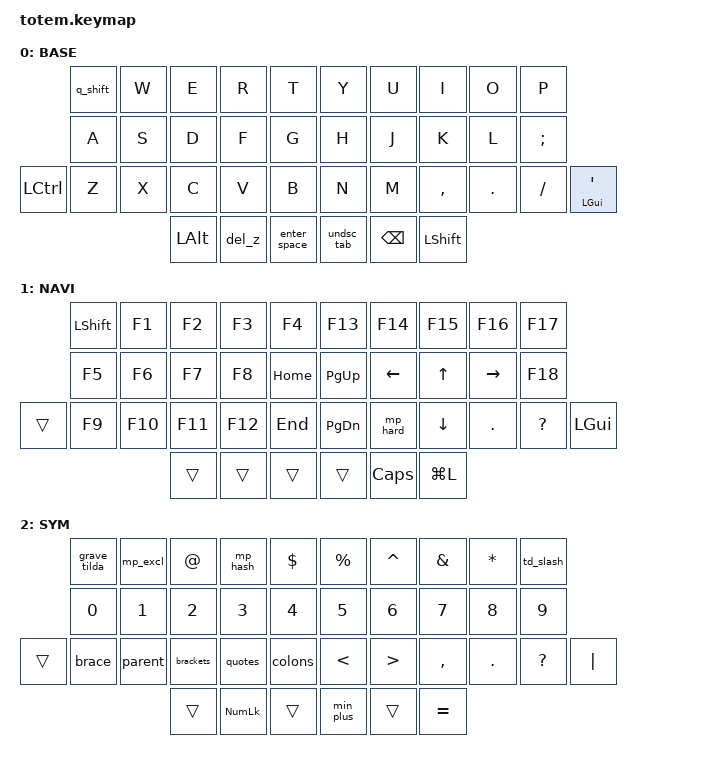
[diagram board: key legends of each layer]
//
//                                                        ▀▀▀▀▀     ▀▀▀▀▀          ▀▀█▀▀
//                                                        ▄▀▀▀▄  ▄  ▄▀▀▀▄  ▄  ▄▀▀▀▄  █  ▄▀▀▀▄
//                                                        █   █  █  █   █  █  █   █  █  █   █
//                                                         ▀▀▀   █   ▀▀▀   █   ▀▀▀   ▀   ▀▀▀
//                                                               █      ▄▄▄█▄▄▄    █   █  
//                                                               ▀      █  █  █     █▄█
//                                                             ▀▀▀▀▀    █  █  █      ▀
//                                                                      ▀  ▀  ▀
//
// ▄▄▄▄▄▄▄▄▄▄▄▄▄▄▄▄▄▄▄▄▄▄▄▄▄▄▄▄▄▄▄▄▄▄▄▄▄▄▄▄▄▄▄▄▄▄▄▄▄▄▄▄▄▄▄▄▄▄▄▄▄▄▄▄▄▄▄▄▄▄▄▄▄▄▄▄▄▄▄▄▄▄▄▄▄▄▄▄▄▄▄▄▄▄▄▄▄▄▄▄▄▄▄▄▄▄▄▄▄▄▄▄▄▄▄▄▄▄▄▄▄▄▄▄▄▄▄▄▄▄▄▄▄▄▄▄▄▄▄▄▄▄▄▄▄▄▄▄▄

#include <behaviors.dtsi>
#include <dt-bindings/zmk/bt.h>
#include <dt-bindings/zmk/keys.h>

#define BASE 0
#define NAV  1
#define SYM  2
#define ADJ  3
#define TVP1 4
#define TVP2 5

&ble {
    hids {
        status = "okay";
    };
};

&mt {
    quick-tap-ms = <100>;
    global-quick-tap;
    flavor = "tap-preferred";
    tapping-term-ms = <170>;
};

/ {
    combos {
        compatible = "zmk,combos";

        combo_esc {
            timeout-ms = <50>;
            key-positions = <0 1>;
            bindings = <&kp ESC>;
        };

        bt_0 {
            bindings = <&bt BT_SEL 0>;
            key-positions = <0 10 21>;
        };

        bt_1 {
            bindings = <&bt BT_SEL 1>;
            key-positions = <1 11 22>;
        };

        bt_2 {
            bindings = <&bt BT_SEL 2>;
            key-positions = <2 12 23>;
        };

        bt_3 {
            bindings = <&bt BT_SEL 3>;
            key-positions = <3 24 13>;
        };

        bt_4 {
            bindings = <&bt BT_SEL 4>;
            key-positions = <4 14 25>;
        };

        print_screen {
            bindings = <&kp LS(LG(S))>;
            key-positions = <32 34 33>;
        };

        processes {
            bindings = <&kp LC(LA(DEL))>;
            key-positions = <36 37 35>;
        };

        bt_clr {
            bindings = <&bt BT_CLR>;
            key-positions = <7 17 28 5 15 26>;
        };

        bt_clr_all {
            bindings = <&bt BT_CLR_ALL>;
            key-positions = <7 17 28 2 12 23>;
        };
    };

    behaviors {
        enter_space: enter_space {
            compatible = "zmk,behavior-mod-morph";
            label = "ENTER_SPACE";
            bindings = <&lt 2 SPACE>, <&kp ENTER>;

            #binding-cells = <0>;
            mods = <(MOD_LCTL|MOD_LSFT|MOD_LALT)>;
            keep-mods = <(MOD_LSFT|MOD_LALT)>;
        };

        undsc_tab: undsc_tab {
            compatible = "zmk,behavior-mod-morph";
            label = "UNDSC_TAB";
            bindings = <&lt 1 UNDERSCORE>, <&kp TAB>;

            #binding-cells = <0>;
            mods = <(MOD_LCTL|MOD_LSFT|MOD_LALT)>;
            keep-mods = <(MOD_LSFT|MOD_LALT)>;
        };

        q_shift: q_shift {
            compatible = "zmk,behavior-mod-morph";
            label = "Q_SHIFT";
            bindings = <&mt LEFT_SHIFT Q>, <&kp LEFT_SHIFT>;

            #binding-cells = <0>;
            mods = <(MOD_LCTL)>;
            keep-mods = <(MOD_LCTL)>;
        };

        del_z: del_z {
            compatible = "zmk,behavior-mod-morph";
            label = "DEL_Z";
            bindings = <&kp DEL>, <&kp Z>;

            #binding-cells = <0>;
            mods = <(MOD_LCTL)>;
            keep-mods = <(MOD_LCTL)>;
        };

        grave_tilda: grave_tilda {
            compatible = "zmk,behavior-tap-dance";
            label = "GRAVE_TILDA";
            #binding-cells = <0>;
            bindings = <&kp GRAVE>, <&kp TILDE>;
        };

        brace: brace {
            compatible = "zmk,behavior-tap-dance";
            label = "BRACE";
            #binding-cells = <0>;
            bindings = <&kp LEFT_BRACE>, <&kp RIGHT_BRACE>;
        };

        parent: parent {
            compatible = "zmk,behavior-tap-dance";
            label = "PARENT";
            #binding-cells = <0>;
            bindings = <&kp LEFT_PARENTHESIS>, <&kp RIGHT_PARENTHESIS>;
        };

        brackets: brackets {
            compatible = "zmk,behavior-tap-dance";
            label = "BRACKETS";
            #binding-cells = <0>;
            bindings = <&kp LEFT_BRACKET>, <&kp RIGHT_BRACKET>;
        };

        quotes: quotes {
            compatible = "zmk,behavior-tap-dance";
            label = "QUOTES";
            #binding-cells = <0>;
            bindings = <&kp SQT>, <&kp DOUBLE_QUOTES>;
        };

        colons: colons {
            compatible = "zmk,behavior-tap-dance";
            label = "COLONS";
            #binding-cells = <0>;
            bindings = <&kp COLON>, <&kp SEMICOLON>;
        };

        min_plus: min_plus {
            compatible = "zmk,behavior-tap-dance";
            label = "MIN_PLUS";
            #binding-cells = <0>;
            bindings = <&kp KP_MINUS>, <&kp KP_PLUS>;
        };

        td_slash: td_slash {
            compatible = "zmk,behavior-tap-dance";
            label = "TD_SLASH";
            #binding-cells = <0>;
            bindings = <&kp SLASH>, <&kp BACKSLASH>;
        };
    };

    macros {
        mp_excl: excl {
            compatible = "zmk,behavior-macro";
            #binding-cells = <0>;
            bindings =
                <&macro_press>,
                <&kp LEFT_ALT>,
                <&macro_tap>,
                <&kp KP_NUMBER_3 &kp KP_NUMBER_3>,
                <&macro_release>,
                <&kp LEFT_ALT>;

            label = "EXCL";
        };

        mp_hash: mp_hash {
            compatible = "zmk,behavior-macro";
            #binding-cells = <0>;
            bindings =
                <&macro_press>,
                <&kp LEFT_ALT>,
                <&macro_tap>,
                <&kp KP_NUMBER_3 &kp KP_NUMBER_5>,
                <&macro_release>,
                <&kp LEFT_ALT>;

            label = "MP_HASH";
        };

        mp_hard: mp_hard {
            compatible = "zmk,behavior-macro";
            #binding-cells = <0>;
            bindings =
                <&macro_press>,
                <&kp LEFT_ALT>,
                <&macro_tap>,
                <&kp KP_N0 &kp KP_NUMBER_2 &kp KP_NUMBER_5 &kp KP_NUMBER_0>,
                <&macro_release>,
                <&kp LEFT_ALT>;

            label = "MP_HARD";
        };
    };

    keymap {
        compatible = "zmk,keymap";

        // ▄▄▄▄▄▄▄▄▄▄▄▄▄▄▄▄▄▄▄▄▄▄▄▄▄▄▄▄▄▄▄▄▄▄▄▄▄▄▄▄▄▄▄▄▄▄▄▄▄▄▄▄▄▄▄▄▄▄▄▄▄▄▄▄▄▄▄▄▄▄▄▄▄▄▄▄▄▄▄▄▄▄▄▄▄▄▄▄▄▄▄▄▄▄▄▄▄▄▄▄▄▄▄▄▄▄▄▄▄▄▄▄▄▄▄▄▄▄▄▄▄▄▄▄▄▄▄▄▄▄▄▄▄▄▄▄▄▄▄▄▄▄▄▄▄▄▄▄▄

        base {
            // ┏━━━━━━━━━━━━━━━━━━━━━━━━━━━━━━━━━━━━━━━┓

            label = "BASE";

            // ┗━━━━━━━━━━━━━━━━━━━━━━━━━━━━━━━━━━━━━━━┛
            //             ┏━━━━━━━━━━━┳━━━━━━━━━━━┳━━━━━━━━━━━┳━━━━━━━━━━━┳━━━━━━━━━━━┓   ┏━━━━━━━━━━━┳━━━━━━━━━━━┳━━━━━━━━━━━┳━━━━━━━━━━━┳━━━━━━━━━━━┓
            //             ┃     Q     ┃     W     ┃     F     ┃     P     ┃     G     ┃   ┃     J     ┃     L     ┃     U     ┃     Y     ┃     ;     ┃
            //             ┣━━━━━━━━━━━╋━━━━━━━━━━━╋━━━━━━━━━━━╋━━━━━━━━━━━╋━━━━━━━━━━━┫   ┣━━━━━━━━━━━╋━━━━━━━━━━━╋━━━━━━━━━━━╋━━━━━━━━━━━╋━━━━━━━━━━━┫
            //             ┃     A     ┃     R     ┃     S     ┃     T     ┃     D     ┃   ┃     H     ┃     N     ┃     E     ┃     I     ┃     O     ┃
            // ┏━━━━━━━━━━━╋━━━━━━━━━━━╋━━━━━━━━━━━╋━━━━━━━━━━━╋━━━━━━━━━━━╋━━━━━━━━━━━┫   ┣━━━━━━━━━━━╋━━━━━━━━━━━╋━━━━━━━━━━━╋━━━━━━━━━━━╋━━━━━━━━━━━╋━━━━━━━━━━━┓
            // ┃     Q     ┃     Z     ┃     X     ┃     C     ┃     V     ┃     B     ┃   ┃     K     ┃     M     ┃     ,     ┃     .     ┃     /     ┃     \     ┃
            // ┗━━━━━━━━━━━┻━━━━━━━━━━━┻━━━━━━━━━━━╋━━━━━━━━━━━╋━━━━━━━━━━━╋━━━━━━━━━━━┫   ┣━━━━━━━━━━━╋━━━━━━━━━━━╋━━━━━━━━━━━╋━━━━━━━━━━━┻━━━━━━━━━━━┻━━━━━━━━━━━┛
            //                                     ┃    DEL    ┃    TAB    ┃    SPC    ┃   ┃   ENTER   ┃           ┃   BSPC    ┃
            //                                     ┗━━━━━━━━━━━┻━━━━━━━━━━━┻━━━━━━━━━━━┛   ┗━━━━━━━━━━━┻━━━━━━━━━━━┻━━━━━━━━━━━┛

            bindings = <
           &q_shift  &kp W  &kp E     &kp R   &kp T           &kp Y       &kp U     &kp I      &kp O    &kp P
           &kp A     &kp S  &kp D     &kp F   &kp G           &kp H       &kp J     &kp K      &kp L    &kp SEMI
&kp LCTRL  &kp Z     &kp X  &kp C     &kp V   &kp B           &kp N       &kp M     &kp COMMA  &kp DOT  &kp FSLH  &mt LEFT_GUI SQT
                            &kp LALT  &del_z  &enter_space    &undsc_tab  &kp BSPC  &kp LSHFT
            >;
        };

        // ▄▄▄▄▄▄▄▄▄▄▄▄▄▄▄▄▄▄▄▄▄▄▄▄▄▄▄▄▄▄▄▄▄▄▄▄▄▄▄▄▄▄▄▄▄▄▄▄▄▄▄▄▄▄▄▄▄▄▄▄▄▄▄▄▄▄▄▄▄▄▄▄▄▄▄▄▄▄▄▄▄▄▄▄▄▄▄▄▄▄▄▄▄▄▄▄▄▄▄▄▄▄▄▄▄▄▄▄▄▄▄▄▄▄▄▄▄▄▄▄▄▄▄▄▄▄▄▄▄▄▄▄▄▄▄▄▄▄▄▄▄▄▄▄▄▄▄▄▄

        nav {
            // ┏━━━━━━━━━━━━━━━━━━━━━━━━━━━━━━━━━━━━━━━┓

            label = "NAVI";

            // ┗━━━━━━━━━━━━━━━━━━━━━━━━━━━━━━━━━━━━━━━┛
            //             ┏━━━━━━━━━━━┳━━━━━━━━━━━┳━━━━━━━━━━━┳━━━━━━━━━━━┳━━━━━━━━━━━┓   ┏━━━━━━━━━━━┳━━━━━━━━━━━┳━━━━━━━━━━━┳━━━━━━━━━━━┳━━━━━━━━━━━┓
            //             ┃           ┃           ┃     UP    ┃           ┃     {     ┃   ┃     }     ┃     7     ┃     8     ┃     9     ┃     +     ┃
            //             ┣━━━━━━━━━━━╋━━━━━━━━━━━╋━━━━━━━━━━━╋━━━━━━━━━━━╋━━━━━━━━━━━┫   ┣━━━━━━━━━━━╋━━━━━━━━━━━╋━━━━━━━━━━━╋━━━━━━━━━━━╋━━━━━━━━━━━┫
            //             ┃   SHIFT   ┃   LEFT    ┃    DOWN   ┃   RIGHT   ┃     [     ┃   ┃     ]     ┃     4     ┃     5     ┃     6     ┃     -     ┃
            // ┏━━━━━━━━━━━╋━━━━━━━━━━━╋━━━━━━━━━━━╋━━━━━━━━━━━╋━━━━━━━━━━━╋━━━━━━━━━━━┫   ┣━━━━━━━━━━━╋━━━━━━━━━━━╋━━━━━━━━━━━╋━━━━━━━━━━━╋━━━━━━━━━━━╋━━━━━━━━━━━┓
            // ┃           ┃           ┃   P UP    ┃  C LOCK   ┃  P DOWN   ┃     (     ┃   ┃     )     ┃     1     ┃     2     ┃     3     ┃     *     ┃           ┃
            // ┗━━━━━━━━━━━┻━━━━━━━━━━━┻━━━━━━━━━━━╋━━━━━━━━━━━╋━━━━━━━━━━━╋━━━━━━━━━━━┫   ┣━━━━━━━━━━━╋━━━━━━━━━━━╋━━━━━━━━━━━╋━━━━━━━━━━━┻━━━━━━━━━━━┻━━━━━━━━━━━┛
            //                                     ┃           ┃    TAB    ┃    SPC    ┃   ┃    DEL    ┃     0     ┃           ┃
            //                                     ┗━━━━━━━━━━━┻━━━━━━━━━━━┻━━━━━━━━━━━┛   ┗━━━━━━━━━━━┻━━━━━━━━━━━┻━━━━━━━━━━━┛

            bindings = <
        &kp LEFT_SHIFT  &kp F1   &kp F2   &kp F3   &kp F4      &kp F13        &kp F14   &kp F15    &kp F16    &kp F17
        &kp F5          &kp F6   &kp F7   &kp F8   &kp HOME    &kp PG_UP      &kp LEFT  &kp UP     &kp RIGHT  &kp F18
&trans  &kp F9          &kp F10  &kp F11  &kp F12  &kp END     &kp PAGE_DOWN  &mp_hard  &kp DOWN   &kp DOT    &kp QUESTION  &kp LEFT_GUI
                                 &trans   &trans   &trans      &trans         &kp CAPS  &kp LG(L)
            >;
        };

        // ▄▄▄▄▄▄▄▄▄▄▄▄▄▄▄▄▄▄▄▄▄▄▄▄▄▄▄▄▄▄▄▄▄▄▄▄▄▄▄▄▄▄▄▄▄▄▄▄▄▄▄▄▄▄▄▄▄▄▄▄▄▄▄▄▄▄▄▄▄▄▄▄▄▄▄▄▄▄▄▄▄▄▄▄▄▄▄▄▄▄▄▄▄▄▄▄▄▄▄▄▄▄▄▄▄▄▄▄▄▄▄▄▄▄▄▄▄▄▄▄▄▄▄▄▄▄▄▄▄▄▄▄▄▄▄▄▄▄▄▄▄▄▄▄▄▄▄▄▄

        sym {
            // ┏━━━━━━━━━━━━━━━━━━━━━━━━━━━━━━━━━━━━━━━┓

            label = "SYM";

            // ┗━━━━━━━━━━━━━━━━━━━━━━━━━━━━━━━━━━━━━━━┛
            //             ┏━━━━━━━━━━━┳━━━━━━━━━━━┳━━━━━━━━━━━┳━━━━━━━━━━━┳━━━━━━━━━━━┓   ┏━━━━━━━━━━━┳━━━━━━━━━━━┳━━━━━━━━━━━┳━━━━━━━━━━━┳━━━━━━━━━━━┓
            //             ┃     !     ┃     @     ┃     #     ┃     $     ┃     %     ┃   ┃     ˆ     ┃     &     ┃     Ü     ┃     '     ┃     "     ┃
            //             ┣━━━━━━━━━━━╋━━━━━━━━━━━╋━━━━━━━━━━━╋━━━━━━━━━━━╋━━━━━━━━━━━┫   ┣━━━━━━━━━━━╋━━━━━━━━━━━╋━━━━━━━━━━━╋━━━━━━━━━━━╋━━━━━━━━━━━┫
            //             ┃     Ä     ┃           ┃    SZ     ┃           ┃           ┃   ┃   MUTE    ┃   YEN     ┃   EURO    ┃  POUND    ┃     Ö     ┃
            // ┏━━━━━━━━━━━╋━━━━━━━━━━━╋━━━━━━━━━━━╋━━━━━━━━━━━╋━━━━━━━━━━━╋━━━━━━━━━━━┫   ┣━━━━━━━━━━━╋━━━━━━━━━━━╋━━━━━━━━━━━╋━━━━━━━━━━━╋━━━━━━━━━━━╋━━━━━━━━━━━┓
            // ┃           ┃  EMAIL1   ┃  EMAIL2   ┃           ┃           ┃           ┃   ┃   VOL-    ┃   VOL+    ┃   LAST    ┃   NEXT    ┃     \     ┃           ┃
            // ┗━━━━━━━━━━━┻━━━━━━━━━━━┻━━━━━━━━━━━╋━━━━━━━━━━━╋━━━━━━━━━━━╋━━━━━━━━━━━┫   ┣━━━━━━━━━━━╋━━━━━━━━━━━╋━━━━━━━━━━━╋━━━━━━━━━━━┻━━━━━━━━━━━┻━━━━━━━━━━━┛
            //                                     ┃           ┃    GIF    ┃    ADJ    ┃   ┃           ┃           ┃           ┃
            //                                     ┗━━━━━━━━━━━┻━━━━━━━━━━━┻━━━━━━━━━━━┛   ┗━━━━━━━━━━━┻━━━━━━━━━━━┻━━━━━━━━━━━┛

            bindings = <
        &grave_tilda  &mp_excl  &kp AT_SIGN  &mp_hash        &kp DOLLAR    &kp PERCENT    &kp CARET         &kp AMPERSAND  &kp ASTERISK  &td_slash
        &kp N0        &kp N1    &kp N2       &kp N3          &kp N4        &kp N5         &kp N6            &kp N7         &kp N8        &kp N9
&trans  &brace        &parent   &brackets    &quotes         &colons       &kp LESS_THAN  &kp GREATER_THAN  &kp COMMA      &kp PERIOD    &kp QUESTION  &kp PIPE
                                &trans       &kp KP_NUMLOCK  &trans        &min_plus      &trans            &kp EQUAL
            >;
        };

        // ▄▄▄▄▄▄▄▄▄▄▄▄▄▄▄▄▄▄▄▄▄▄▄▄▄▄▄▄▄▄▄▄▄▄▄▄▄▄▄▄▄▄▄▄▄▄▄▄▄▄▄▄▄▄▄▄▄▄▄▄▄▄▄▄▄▄▄▄▄▄▄▄▄▄▄▄▄▄▄▄▄▄▄▄▄▄▄▄▄▄▄▄▄▄▄▄▄▄▄▄▄▄▄▄▄▄▄▄▄▄▄▄▄▄▄▄▄▄▄▄▄▄▄▄▄▄▄▄▄▄▄▄▄▄▄▄▄▄▄▄▄▄▄▄▄▄▄▄▄
        // ▄▄▄▄▄▄▄▄▄▄▄▄▄▄▄▄▄▄▄▄▄▄▄▄▄▄▄▄▄▄▄▄▄▄▄▄▄▄▄▄▄▄▄▄▄▄▄▄▄▄▄▄▄▄▄▄▄▄▄▄▄▄▄▄▄▄▄▄▄▄▄▄▄▄▄▄▄▄▄▄▄▄▄▄▄▄▄▄▄▄▄▄▄▄▄▄▄▄▄▄▄▄▄▄▄▄▄▄▄▄▄▄▄▄▄▄▄▄▄▄▄▄▄▄▄▄▄▄▄▄▄▄▄▄▄▄▄▄▄▄▄▄▄▄▄▄▄▄▄
        // ▄▄▄▄▄▄▄▄▄▄▄▄▄▄▄▄▄▄▄▄▄▄▄▄▄▄▄▄▄▄▄▄▄▄▄▄▄▄▄▄▄▄▄▄▄▄▄▄▄▄▄▄▄▄▄▄▄▄▄▄▄▄▄▄▄▄▄▄▄▄▄▄▄▄▄▄▄▄▄▄▄▄▄▄▄▄▄▄▄▄▄▄▄▄▄▄▄▄▄▄▄▄▄▄▄▄▄▄▄▄▄▄▄▄▄▄▄▄▄▄▄▄▄▄▄▄▄▄▄▄▄▄▄▄▄▄▄▄▄▄▄▄▄▄▄▄▄▄▄
    };
};
